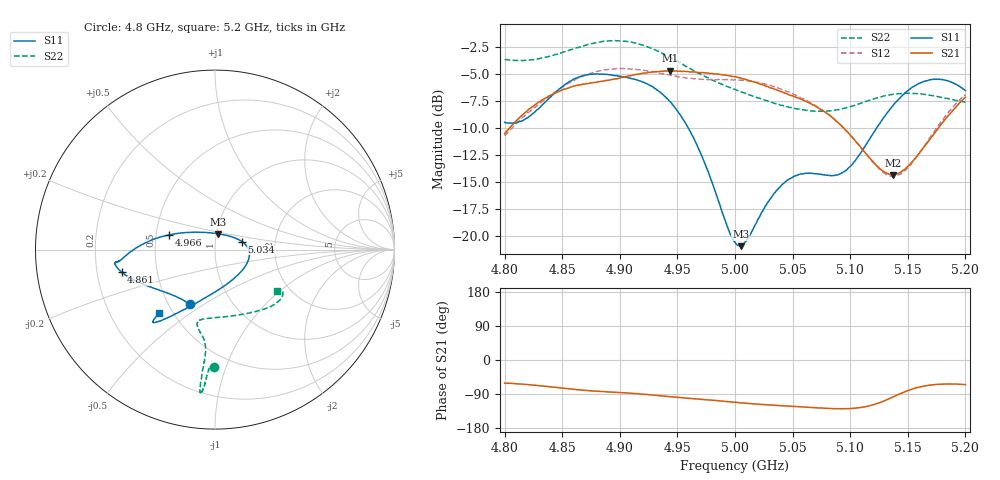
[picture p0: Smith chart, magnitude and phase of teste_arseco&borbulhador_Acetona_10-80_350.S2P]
! Network Analyzer HP8722D
! Hewlett-Packard
! Data name: Linha & Wilkinson
! Saver's name: Rodrigo Anjos
! Comments: Teste da utilização de aquisição
! continua pelo VNA HP8722D
! Time and date: 17/4/2025 17:16
!  Frequency  S11  S21  S12  S22
# HZ  S  MA R 50
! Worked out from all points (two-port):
!   401 points, 4.8 GHz to 5.2 GHz, reference 50 ohm
!   highest |S21| = -4.69 dB at 4.944 GHz (marker M1); lowest = -14.4 dB at 5.137 GHz (marker M2)
!   |S21| within 3 dB of the highest: 4.829 GHz to 5.064 GHz (235.9 MHz wide, 4.77 % of centre); 5.194826 GHz to end of sweep
!   lowest |S11| = -21.0 dB at 5.005 GHz (marker M3), VSWR 1.20, Z = 51 + j9.01 ohm
!   |S11| at or under -10 dB: 4.959 GHz to 5.123 GHz (163.6 MHz wide, 3.25 % of centre)
!   |S22| runs from -8.5 to -1.9 dB; largest |S21 - S12| = 0.87
!   S11 on the Smith chart (normalised r, x): 4.8 GHz: 0.64, -0.44; 4.861 GHz: 0.31, -0.11; 4.966 GHz: 0.58, +0.10; 5.034 GHz: 1.35, +0.12; 5.2 GHz: 0.42, -0.38
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4.8e9  0.3354 -114.5  0.2971 -61.1  0.2903 -175.4  0.6555 -90.4
4.819e9  0.3504 -134.5  0.3762 -64.6  0.3651 -174.4  0.6518 -91.9
4.861e9  0.5353 -166.3  0.4942 -77.7  0.5272 -177.7  0.7388 -94.2
4.867e9  0.5499 -168.7  0.5027 -79.5  0.5462 -178.6  0.7569 -94.3
4.9e9  0.549 -173.0  0.5388 -85.8  0.5959 174.9  0.8001 -95.8
4.934e9  0.4676 -178.8  0.5765 -94.2  0.5687 171.3  0.7123 -96.0
4.944e9  0.4169 176.9  0.5825 -96.9  0.554 171.5  0.6704 -95.8
4.966e9  0.2699 162.3  0.5728 -102.5  0.5347 173.3  0.5757 -95.3
5e9  0.09327 97.6  0.546 -111.7  0.5293 175.8  0.4768 -99.2
5.005e9  0.08942 78.6  0.5381 -112.9  0.5267 175.6  0.4639 -100.4
5.034e9  0.1573 16.5  0.4787 -119.7  0.4909 174.4  0.4115 -103.3
5.05e9  0.1868 0.7  0.4458 -122.5  0.4552 173.6  0.3915 -99.1
5.067e9  0.1944 -17.7  0.4056 -125.3  0.4102 173.3  0.379 -89.9
5.085e9  0.19 -46.1  0.3512 -128.4  0.3504 173.5  0.3812 -76.4
5.096e9  0.2005 -68.3  0.3088 -128.6  0.3091 174.6  0.3911 -67.4
5.123e9  0.3162 -109.4  0.2106 -115.3  0.2097 -169.8  0.4353 -48.5
5.134e9  0.3823 -118.0  0.1928 -101.9  0.1898 -154.9  0.4496 -43.1
5.137e9  0.3998 -119.8  0.1915 -97.8  0.1888 -149.9  0.4522 -41.8
5.15e9  0.4701 -125.4  0.2096 -80.9  0.2064 -130.6  0.4574 -37.0
5.17e9  0.5294 -129.9  0.2837 -66.0  0.2892 -112.2  0.4475 -32.3
5.184e9  0.5237 -131.0  0.3551 -63.4  0.3668 -107.6  0.4333 -31.4
5.2e9  0.4702 -131.2  0.4387 -65.0  0.4509 -107.1  0.4156 -33.8
